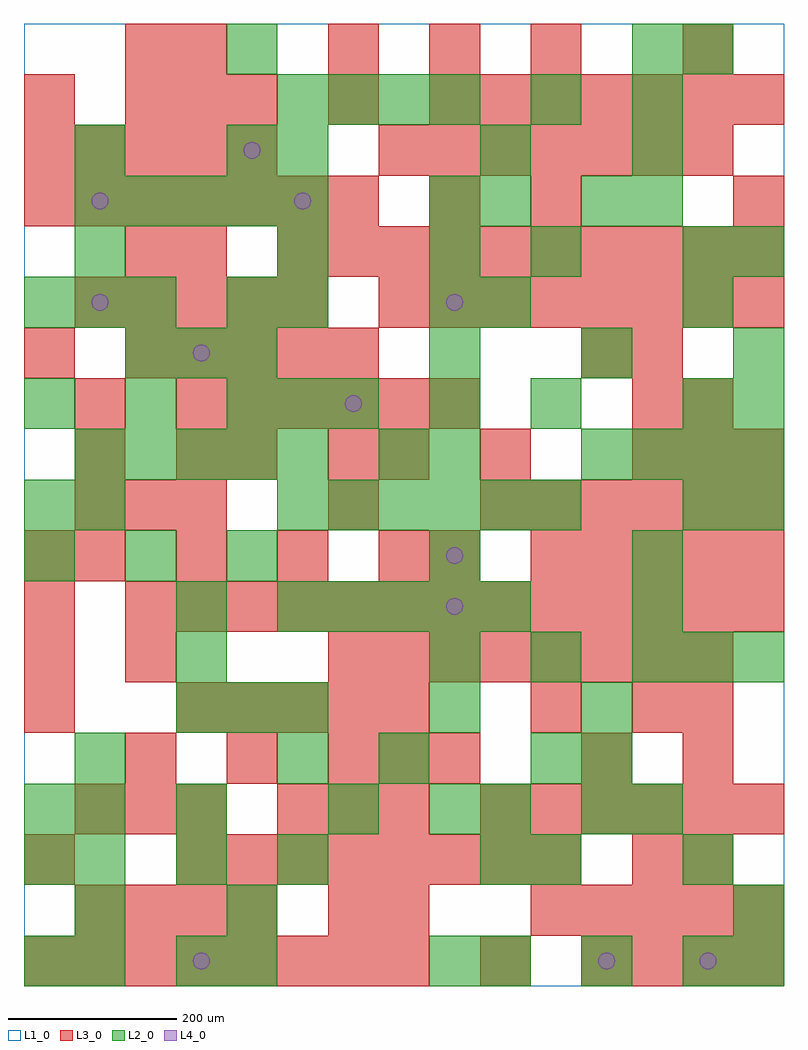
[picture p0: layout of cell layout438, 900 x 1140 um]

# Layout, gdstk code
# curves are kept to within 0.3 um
import gdstk
lib = gdstk.Library(unit=1e-6, precision=1e-09)
def R(c, l, rs):  # rectangles x0, y0, x1, y1
    for r in rs: c.add(gdstk.rectangle(r[:2], r[2:], *l))
def A(c, l, x, y, w, h, nx, ny, dx, dy):  # array of equal rectangles
    R(c, l, [(x+i*dx, y+j*dy, x+i*dx+w, y+j*dy+h) for i in range(nx) for j in range(ny)])
def P(c, l, *ps):  # polygons
    for p in ps: c.add(gdstk.Polygon(p, *l))
L1_0 = (1, 0)
L2_0 = (2, 0)
L3_0 = (3, 0)
L4_0 = (4, 0)

layout438 = lib.new_cell('layout438')
R(layout438, L1_0, [(0,0,900,1140)])
A(layout438, L2_0, 180, 0, 60, 60, 1, 3, 0, 180)
A(layout438, L2_0, 540, 0, 60, 60, 3, 1, 120, 0)
A(layout438, L2_0, 60, 120, 60, 60, 3, 1, 120, 0)
A(layout438, L2_0, 660, 180, 60, 60, 1, 3, 0, 60)
A(layout438, L2_0, 60, 240, 60, 60, 1, 3, 0, 300)
A(layout438, L2_0, 180, 300, 60, 60, 3, 1, 60, 0)
A(layout438, L2_0, 480, 360, 60, 60, 3, 1, 120, 0)
A(layout438, L2_0, 300, 420, 60, 60, 5, 1, 60, 0)
A(layout438, L2_0, 0, 480, 60, 60, 3, 2, 120, 180)
A(layout438, L2_0, 300, 540, 60, 60, 6, 1, 60, 0)
A(layout438, L2_0, 780, 540, 60, 60, 1, 3, 0, 120)
A(layout438, L2_0, 60, 600, 60, 60, 5, 2, 60, 300)
A(layout438, L2_0, 660, 600, 60, 60, 4, 1, 60, 0)
A(layout438, L2_0, 360, 660, 60, 60, 3, 1, 120, 0)
A(layout438, L2_0, 120, 720, 60, 60, 3, 1, 60, 0)
A(layout438, L2_0, 480, 720, 60, 60, 3, 1, 180, 0)
A(layout438, L2_0, 0, 780, 60, 60, 3, 1, 60, 0)
A(layout438, L2_0, 480, 780, 60, 60, 1, 3, 0, 60)
A(layout438, L2_0, 720, 900, 60, 60, 1, 4, 0, 60)
A(layout438, L2_0, 300, 1020, 60, 60, 4, 1, 60, 0)
R(layout438, L2_0, [(0,0,60,60), (60,0,120,60), (240,0,300,60), (480,0,540,60), (840,0,900,60), (60,60,120,120), (240,60,300,120), (840,60,900,120), (0,120,60,180), (540,120,600,180), (600,120,660,180), (780,120,840,180), (0,180,60,240), (60,180,120,240), (360,180,420,240), (480,180,540,240), (540,180,600,240), (720,180,780,240), (300,240,360,300), (420,240,480,300), (600,240,660,300), (480,300,540,360), (780,360,840,420), (840,360,900,420), (180,420,240,480), (720,420,780,480), (480,480,540,540), (720,480,780,540), (0,540,60,600), (840,540,900,600), (420,600,480,660), (480,600,540,660), (300,660,360,720), (840,660,900,720), (240,780,300,840), (300,780,360,840), (540,780,600,840), (300,840,360,900), (600,840,660,900), (780,840,840,900), (840,840,900,900), (540,900,600,960), (660,900,720,960), (60,960,120,1020), (240,960,300,1020), (300,960,360,1020), (540,960,600,1020), (600,1020,660,1080), (240,1080,300,1140), (780,1080,840,1140)])
A(layout438, L3_0, 0, 0, 60, 60, 8, 1, 60, 0)
A(layout438, L3_0, 660, 0, 60, 60, 4, 1, 60, 0)
A(layout438, L3_0, 60, 60, 60, 60, 4, 1, 60, 0)
A(layout438, L3_0, 600, 60, 60, 60, 5, 2, 60, 420)
A(layout438, L3_0, 180, 120, 60, 60, 8, 1, 60, 0)
A(layout438, L3_0, 60, 180, 60, 60, 3, 2, 60, 360)
A(layout438, L3_0, 300, 180, 60, 60, 3, 1, 60, 0)
A(layout438, L3_0, 540, 180, 60, 60, 6, 2, 60, 360)
A(layout438, L3_0, 120, 240, 60, 60, 3, 1, 120, 0)
A(layout438, L3_0, 0, 300, 60, 60, 1, 4, 0, 60)
A(layout438, L3_0, 180, 300, 60, 60, 5, 1, 60, 0)
A(layout438, L3_0, 360, 360, 60, 60, 8, 1, 60, 0)
A(layout438, L3_0, 120, 420, 60, 60, 13, 1, 60, 0)
A(layout438, L3_0, 60, 480, 60, 60, 4, 1, 120, 0)
A(layout438, L3_0, 180, 600, 60, 60, 1, 3, 0, 240)
A(layout438, L3_0, 720, 600, 60, 60, 3, 1, 60, 0)
A(layout438, L3_0, 180, 660, 60, 60, 6, 1, 60, 0)
A(layout438, L3_0, 120, 720, 60, 60, 5, 1, 60, 0)
A(layout438, L3_0, 60, 780, 60, 60, 5, 1, 60, 0)
A(layout438, L3_0, 420, 780, 60, 60, 8, 1, 60, 0)
A(layout438, L3_0, 300, 840, 60, 60, 10, 1, 60, 0)
A(layout438, L3_0, 0, 900, 60, 60, 7, 1, 60, 0)
A(layout438, L3_0, 0, 960, 60, 60, 5, 1, 60, 0)
A(layout438, L3_0, 420, 960, 60, 60, 7, 1, 60, 0)
A(layout438, L3_0, 120, 1020, 60, 60, 3, 1, 60, 0)
A(layout438, L3_0, 480, 1020, 60, 60, 7, 1, 60, 0)
A(layout438, L3_0, 360, 1080, 60, 60, 3, 1, 120, 0)
R(layout438, L3_0, [(540,0,600,60), (360,60,420,120), (420,60,480,120), (0,120,60,180), (720,120,780,180), (780,120,840,180), (420,240,480,300), (480,240,540,300), (660,240,720,300), (780,240,840,300), (600,300,660,360), (720,300,780,360), (780,300,840,360), (120,360,180,420), (480,480,540,540), (360,540,420,600), (60,600,120,660), (240,600,300,660), (360,600,420,660), (420,600,480,660), (540,600,600,660), (60,660,120,720), (720,660,780,720), (780,660,840,720), (0,720,60,780), (660,720,720,780), (720,720,780,780), (120,840,180,900), (480,900,540,960), (600,900,660,960), (840,900,900,960), (0,1020,60,1080), (360,1020,420,1080), (120,1080,180,1140), (780,1080,840,1140)])
P(layout438, L4_0, [(100,810),(99.239,813.827),(97.071,817.071),(93.827,819.239),(90,820),(86.173,819.239),(82.929,817.071),(80.761,813.827),(80,810),(80.761,806.173),(82.929,802.929),(86.173,800.761),(90,800),(93.827,800.761),(97.071,802.929),(99.239,806.173)],
  [(100,930),(99.239,933.827),(97.071,937.071),(93.827,939.239),(90,940),(86.173,939.239),(82.929,937.071),(80.761,933.827),(80,930),(80.761,926.173),(82.929,922.929),(86.173,920.761),(90,920),(93.827,920.761),(97.071,922.929),(99.239,926.173)],
  [(220,30),(219.239,33.827),(217.071,37.071),(213.827,39.239),(210,40),(206.173,39.239),(202.929,37.071),(200.761,33.827),(200,30),(200.761,26.173),(202.929,22.929),(206.173,20.761),(210,20),(213.827,20.761),(217.071,22.929),(219.239,26.173)],
  [(220,750),(219.239,753.827),(217.071,757.071),(213.827,759.239),(210,760),(206.173,759.239),(202.929,757.071),(200.761,753.827),(200,750),(200.761,746.173),(202.929,742.929),(206.173,740.761),(210,740),(213.827,740.761),(217.071,742.929),(219.239,746.173)],
  [(280,990),(279.239,993.827),(277.071,997.071),(273.827,999.239),(270,1000),(266.173,999.239),(262.929,997.071),(260.761,993.827),(260,990),(260.761,986.173),(262.929,982.929),(266.173,980.761),(270,980),(273.827,980.761),(277.071,982.929),(279.239,986.173)],
  [(340,930),(339.239,933.827),(337.071,937.071),(333.827,939.239),(330,940),(326.173,939.239),(322.929,937.071),(320.761,933.827),(320,930),(320.761,926.173),(322.929,922.929),(326.173,920.761),(330,920),(333.827,920.761),(337.071,922.929),(339.239,926.173)],
  [(400,690),(399.239,693.827),(397.071,697.071),(393.827,699.239),(390,700),(386.173,699.239),(382.929,697.071),(380.761,693.827),(380,690),(380.761,686.173),(382.929,682.929),(386.173,680.761),(390,680),(393.827,680.761),(397.071,682.929),(399.239,686.173)],
  [(520,450),(519.239,453.827),(517.071,457.071),(513.827,459.239),(510,460),(506.173,459.239),(502.929,457.071),(500.761,453.827),(500,450),(500.761,446.173),(502.929,442.929),(506.173,440.761),(510,440),(513.827,440.761),(517.071,442.929),(519.239,446.173)],
  [(520,510),(519.239,513.827),(517.071,517.071),(513.827,519.239),(510,520),(506.173,519.239),(502.929,517.071),(500.761,513.827),(500,510),(500.761,506.173),(502.929,502.929),(506.173,500.761),(510,500),(513.827,500.761),(517.071,502.929),(519.239,506.173)],
  [(520,810),(519.239,813.827),(517.071,817.071),(513.827,819.239),(510,820),(506.173,819.239),(502.929,817.071),(500.761,813.827),(500,810),(500.761,806.173),(502.929,802.929),(506.173,800.761),(510,800),(513.827,800.761),(517.071,802.929),(519.239,806.173)],
  [(700,30),(699.239,33.827),(697.071,37.071),(693.827,39.239),(690,40),(686.173,39.239),(682.929,37.071),(680.761,33.827),(680,30),(680.761,26.173),(682.929,22.929),(686.173,20.761),(690,20),(693.827,20.761),(697.071,22.929),(699.239,26.173)],
  [(820,30),(819.239,33.827),(817.071,37.071),(813.827,39.239),(810,40),(806.173,39.239),(802.929,37.071),(800.761,33.827),(800,30),(800.761,26.173),(802.929,22.929),(806.173,20.761),(810,20),(813.827,20.761),(817.071,22.929),(819.239,26.173)])

lib.write_gds('layout438.gds')
